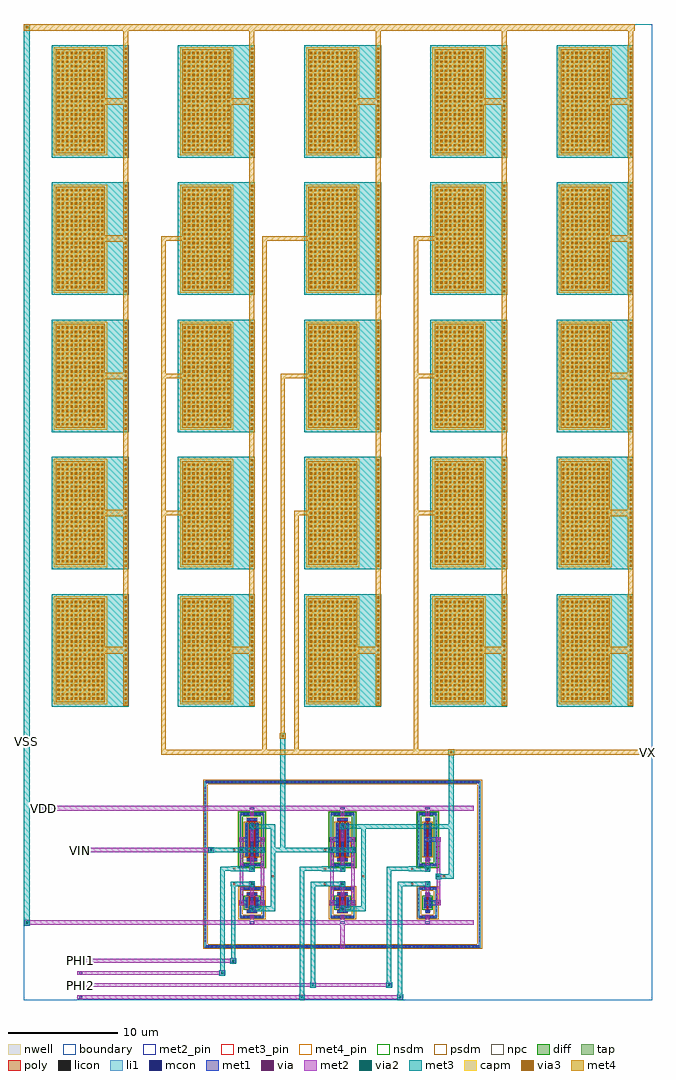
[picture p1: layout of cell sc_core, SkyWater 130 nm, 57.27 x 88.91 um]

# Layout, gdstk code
import gdstk
lib = gdstk.Library(unit=1e-6, precision=1e-09)
def R(c, l, rs):  # rectangles x0, y0, x1, y1
    for r in rs: c.add(gdstk.rectangle(r[:2], r[2:], *l))
def A(c, l, x, y, w, h, nx, ny, dx, dy):  # array of equal rectangles
    R(c, l, [(x+i*dx, y+j*dy, x+i*dx+w, y+j*dy+h) for i in range(nx) for j in range(ny)])
nwell = (64, 20)
diff = (65, 20)
tap = (65, 44)
poly = (66, 20)
licon = (66, 44)
li1 = (67, 20)
mcon = (67, 44)
met1 = (68, 20)
via = (68, 44)
met2_pin = (69, 16)
met2 = (69, 20)
via2 = (69, 44)
met3_pin = (70, 16)
met3 = (70, 20)
via3 = (70, 44)
met4_pin = (71, 16)
met4 = (71, 20)
capm = (89, 44)
nsdm = (93, 44)
psdm = (94, 20)
npc = (95, 20)
boundary = (235, 4)

dev_p_tg = lib.new_cell('dev_p_tg')
R(dev_p_tg, nwell, [(-1.315,-2.595,1.315,2.595)])
R(dev_p_tg, diff, [(-0.625,-1.5,0.625,1.5)])
R(dev_p_tg, tap, [(-1.135,-2.415,1.135,-2.245), (-1.135,-2.245,-0.965,2.245), (0.965,-2.245,1.135,2.245), (-1.135,2.245,1.135,2.415)])
R(dev_p_tg, poly, [(-0.48,-1.985,0.48,-1.655), (-0.315,-1.655,-0.165,1.655), (0.165,-1.655,0.315,1.655), (-0.48,1.655,0.48,1.985)])
A(dev_p_tg, licon, -0.595, -2.415, 0.17, 0.17, 4, 2, 0.34, 4.66)
A(dev_p_tg, licon, -1.135, -1.785, 0.17, 0.17, 1, 11, 0, 0.34)
A(dev_p_tg, licon, 0.965, -1.785, 0.17, 0.17, 1, 11, 0, 0.34)
A(dev_p_tg, licon, -0.565, -1.275, 0.17, 0.17, 3, 8, 0.48, 0.34)
R(dev_p_tg, licon, [(-0.325,-1.905,-0.155,-1.735), (0.155,-1.905,0.325,-1.735), (-0.325,1.735,-0.155,1.905), (0.155,1.735,0.325,1.905)])
A(dev_p_tg, li1, -0.565, -1.52, 0.17, 3.04, 3, 1, 0.48, 0)
R(dev_p_tg, li1, [(-1.135,-2.415,1.135,-2.245), (-1.135,-2.245,-0.965,2.245), (0.965,-2.245,1.135,2.245), (-0.48,-1.905,0.48,-1.735), (-0.48,1.735,0.48,1.905), (-1.135,2.245,1.135,2.415)])
A(dev_p_tg, mcon, -0.805, -2.415, 0.17, 0.17, 5, 2, 0.36, 4.66)
A(dev_p_tg, mcon, -0.565, -1.345, 0.17, 0.17, 3, 8, 0.48, 0.36)
R(dev_p_tg, mcon, [(-0.325,-1.905,-0.155,-1.735), (0.155,-1.905,0.325,-1.735), (-0.325,1.735,-0.155,1.905), (0.155,1.735,0.325,1.905)])
A(dev_p_tg, met1, -0.595, -1.5, 0.23, 3, 3, 1, 0.48, 0)
R(dev_p_tg, met1, [(-1.025,-2.445,1.025,-2.215), (-0.385,-1.935,-0.095,-1.905), (0.095,-1.935,0.385,-1.905), (-0.48,-1.905,0.48,-1.735), (-0.385,-1.735,-0.095,-1.705), (0.095,-1.735,0.385,-1.705), (-0.385,1.705,-0.095,1.735), (0.095,1.705,0.385,1.735), (-0.48,1.735,0.48,1.905), (-0.385,1.905,-0.095,1.935), (0.095,1.905,0.385,1.935), (-1.025,2.215,1.025,2.445)])
R(dev_p_tg, nsdm, [(-1.26,-2.54,1.26,-2.12), (-1.26,-2.12,-0.84,2.12), (0.84,-2.12,1.26,2.12), (-1.26,2.12,1.26,2.54)])
R(dev_p_tg, psdm, [(-0.75,-1.625,0.75,1.625)])
R(dev_p_tg, npc, [(-0.425,-2.005,0.425,-1.635), (-0.425,1.635,0.425,2.005)])
R(dev_p_tg, boundary, [(-1.05,-2.33,1.05,2.33)])

dev_n_tg = lib.new_cell('dev_n_tg')
R(dev_n_tg, diff, [(-0.625,-0.5,0.625,0.5)])
R(dev_n_tg, tap, [(-1.135,-1.37,1.135,-1.2), (-1.135,-1.2,-0.965,1.2), (0.965,-1.2,1.135,1.2), (-1.135,1.2,1.135,1.37)])
R(dev_n_tg, poly, [(-0.48,-0.94,0.48,-0.61), (-0.315,-0.61,-0.165,0.61), (0.165,-0.61,0.315,0.61), (-0.48,0.61,0.48,0.94)])
A(dev_n_tg, licon, -0.595, -1.37, 0.17, 0.17, 4, 2, 0.34, 2.57)
A(dev_n_tg, licon, -1.135, -0.765, 0.17, 0.17, 1, 5, 0, 0.34)
A(dev_n_tg, licon, 0.965, -0.765, 0.17, 0.17, 1, 5, 0, 0.34)
A(dev_n_tg, licon, -0.565, -0.425, 0.17, 0.17, 3, 3, 0.48, 0.34)
R(dev_n_tg, licon, [(-0.325,-0.86,-0.155,-0.69), (0.155,-0.86,0.325,-0.69), (-0.325,0.69,-0.155,0.86), (0.155,0.69,0.325,0.86)])
A(dev_n_tg, li1, -0.565, -0.52, 0.17, 1.04, 3, 1, 0.48, 0)
R(dev_n_tg, li1, [(-1.135,-1.37,1.135,-1.2), (-1.135,-1.2,-0.965,1.2), (0.965,-1.2,1.135,1.2), (-0.48,-0.86,0.48,-0.69), (-0.48,0.69,0.48,0.86), (-1.135,1.2,1.135,1.37)])
A(dev_n_tg, mcon, -0.805, -1.37, 0.17, 0.17, 5, 2, 0.36, 2.57)
A(dev_n_tg, mcon, -0.565, -0.265, 0.17, 0.17, 3, 2, 0.48, 0.36)
R(dev_n_tg, mcon, [(-0.325,-0.86,-0.155,-0.69), (0.155,-0.86,0.325,-0.69), (-0.325,0.69,-0.155,0.86), (0.155,0.69,0.325,0.86)])
A(dev_n_tg, met1, -0.595, -0.5, 0.23, 1, 3, 1, 0.48, 0)
R(dev_n_tg, met1, [(-1.025,-1.4,1.025,-1.17), (-0.385,-0.89,-0.095,-0.86), (0.095,-0.89,0.385,-0.86), (-0.48,-0.86,0.48,-0.69), (-0.385,-0.69,-0.095,-0.66), (0.095,-0.69,0.385,-0.66), (-0.385,0.66,-0.095,0.69), (0.095,0.66,0.385,0.69), (-0.48,0.69,0.48,0.86), (-0.385,0.86,-0.095,0.89), (0.095,0.86,0.385,0.89), (-1.025,1.17,1.025,1.4)])
R(dev_n_tg, nsdm, [(-0.75,-0.625,0.75,0.625)])
R(dev_n_tg, psdm, [(-1.26,-1.495,1.26,-1.075), (-1.26,-1.075,-0.84,1.075), (0.84,-1.075,1.26,1.075), (-1.26,1.075,1.26,1.495)])
R(dev_n_tg, npc, [(-0.425,-0.96,0.425,-0.59), (-0.425,0.59,0.425,0.96)])
R(dev_n_tg, boundary, [(-1.05,-1.285,1.05,1.285)])

tg_switch = lib.new_cell('tg_switch')
R(tg_switch, met1, [(-0.2,-1.415,0.2,-1.155), (-0.13,-0.26,0.13,0.16), (-1.16,-0.21,-0.365,0.21), (0.365,-0.21,1.16,0.21), (-0.2,0.645,0.2,0.905), (-0.2,3.8,0.2,4.06), (-1.16,5.54,-0.365,5.96), (0.365,5.54,1.16,5.96), (-0.13,5.59,0.13,6.01), (-0.2,7.95,0.2,8.21)])
R(tg_switch, via, [(-0.075,-1.36,0.075,-1.21), (-0.075,-0.125,0.075,0.025), (-1.025,-0.075,-0.875,0.075), (0.875,-0.075,1.025,0.075), (-0.075,0.7,0.075,0.85), (-0.075,3.855,0.075,4.005), (-1.025,5.675,-0.875,5.825), (0.875,5.675,1.025,5.825), (-0.075,5.725,0.075,5.875), (-0.075,8.005,0.075,8.155)])
R(tg_switch, met2_pin, [(-0.2,-1.9,0.2,-1.7), (-0.2,8.5,0.2,8.7)])
R(tg_switch, met2, [(-1.61,-2.01,1.61,-1.59), (-0.17,-1.59,0.17,-1.075), (-0.23,-0.78,0.23,-0.32), (-0.17,-0.32,0.17,0.16), (-1.16,-0.21,-0.74,0.21), (0.74,-0.21,1.16,0.21), (-1.12,0.21,-0.78,4.57), (0.78,0.21,1.12,4.57), (-0.17,0.565,0.17,1.47), (-0.23,1.47,0.23,1.93), (-0.23,2.87,0.23,3.33), (-0.17,3.33,0.17,4.14), (-1.18,4.57,-0.72,5.03), (0.72,4.57,1.18,5.03), (-1.12,5.03,-0.78,5.54), (0.78,5.03,1.12,5.54), (-1.16,5.54,-0.74,5.96), (0.74,5.54,1.16,5.96), (-0.17,5.59,0.17,6.72), (-0.23,6.72,0.23,7.18), (-0.17,7.87,0.17,8.39), (-1.61,8.39,1.61,8.81)])
R(tg_switch, via2, [(-0.1,-0.65,0.1,-0.45), (-0.1,1.6,0.1,1.8), (-0.1,3,0.1,3.2), (-1.05,4.7,-0.85,4.9), (0.85,4.7,1.05,4.9), (-0.1,6.85,0.1,7.05)])
R(tg_switch, met3_pin, [(-1.7,1.6,-1.5,1.8), (1.8,2.3,2,2.5), (-1.7,3,-1.5,3.2), (-1.7,4.7,-1.5,4.9)])
R(tg_switch, met3, [(-0.26,-0.81,0.26,-0.76), (-0.26,-0.76,2.11,-0.34), (-0.26,-0.34,0.26,-0.29), (1.69,-0.34,2.11,6.74), (-0.26,1.44,0.26,1.49), (-1.91,1.49,0.26,1.91), (-0.26,1.91,0.26,1.96), (-0.26,2.84,0.26,2.89), (-1.91,2.89,0.26,3.31), (-0.26,3.31,0.26,3.36), (-1.21,4.54,-0.69,4.59), (0.69,4.54,1.21,4.59), (-1.91,4.59,1.21,5.01), (-1.21,5.01,-0.69,5.06), (0.69,5.01,1.21,5.06), (-0.26,6.69,0.26,6.74), (-0.26,6.74,2.11,7.16), (-0.26,7.16,0.26,7.21)])
R(tg_switch, boundary, [(-1.91,-2.01,2.11,8.81)])
tg_switch.add(gdstk.Reference(dev_p_tg, (0,5.75)))
tg_switch.add(gdstk.Reference(dev_n_tg, (0,0)))
tg_switch.add(gdstk.Label('VIN', (-1.6,4.8), layer=70, texttype=5))
tg_switch.add(gdstk.Label('VOUT', (1.9,2.4), layer=70, texttype=5))
tg_switch.add(gdstk.Label('PHI', (-1.6,1.7), layer=70, texttype=5))
tg_switch.add(gdstk.Label('PHI_B', (-1.6,3.1), layer=70, texttype=5))
tg_switch.add(gdstk.Label('VDD', (0,8.6), layer=69, texttype=5))
tg_switch.add(gdstk.Label('VSS', (0,-1.8), layer=69, texttype=5))

gr_sc_sw = lib.new_cell('gr_sc_sw')
R(gr_sc_sw, tap, [(-12.585,-7.585,12.585,-7.415), (-12.585,-7.415,-12.415,7.415), (12.415,-7.415,12.585,7.415), (-12.585,7.415,12.585,7.585)])
A(gr_sc_sw, licon, -11.985, -7.585, 0.17, 0.17, 71, 2, 0.34, 15)
A(gr_sc_sw, licon, -12.585, -7.055, 0.17, 0.17, 1, 42, 0, 0.34)
A(gr_sc_sw, licon, 12.415, -7.055, 0.17, 0.17, 1, 42, 0, 0.34)
R(gr_sc_sw, li1, [(-12.585,-7.585,12.585,-7.415), (-12.585,-7.415,-12.415,7.415), (12.415,-7.415,12.585,7.415), (-12.585,7.415,12.585,7.585)])
A(gr_sc_sw, mcon, -12.325, -7.585, 0.17, 0.17, 69, 2, 0.36, 15)
R(gr_sc_sw, met1, [(-12.475,-7.615,12.475,-7.385), (-12.475,7.385,12.475,7.615)])
R(gr_sc_sw, psdm, [(-12.71,-7.71,12.71,-7.29), (-12.71,-7.29,-12.29,7.29), (12.29,-7.29,12.71,7.29), (-12.71,7.29,12.71,7.71)])
R(gr_sc_sw, boundary, [(-12.5,-7.5,12.5,7.5)])

dev_p_dum = lib.new_cell('dev_p_dum')
R(dev_p_dum, nwell, [(-1.055,-2.595,1.055,2.595)])
R(dev_p_dum, diff, [(-0.365,-1.5,0.365,1.5)])
R(dev_p_dum, tap, [(-0.875,-2.415,0.875,-2.245), (-0.875,-2.245,-0.705,2.245), (0.705,-2.245,0.875,2.245), (-0.875,2.245,0.875,2.415)])
R(dev_p_dum, poly, [(-0.165,-1.985,0.165,-1.655), (-0.075,-1.655,0.075,1.655), (-0.165,1.655,0.165,1.985)])
A(dev_p_dum, licon, -0.875, -1.785, 0.17, 0.17, 1, 11, 0, 0.34)
A(dev_p_dum, licon, 0.705, -1.785, 0.17, 0.17, 1, 11, 0, 0.34)
A(dev_p_dum, licon, -0.305, -1.275, 0.17, 0.17, 1, 8, 0, 0.34)
A(dev_p_dum, licon, 0.135, -1.275, 0.17, 0.17, 1, 8, 0, 0.34)
R(dev_p_dum, licon, [(-0.255,-2.415,-0.085,-2.245), (0.085,-2.415,0.255,-2.245), (-0.085,-1.905,0.085,-1.735), (-0.085,1.735,0.085,1.905), (-0.255,2.245,-0.085,2.415), (0.085,2.245,0.255,2.415)])
R(dev_p_dum, li1, [(-0.875,-2.415,0.875,-2.245), (-0.875,-2.245,-0.705,2.245), (0.705,-2.245,0.875,2.245), (-0.22,-1.905,0.22,-1.735), (-0.305,-1.52,-0.135,1.52), (0.135,-1.52,0.305,1.52), (-0.22,1.735,0.22,1.905), (-0.875,2.245,0.875,2.415)])
A(dev_p_dum, mcon, -0.625, -2.415, 0.17, 0.17, 4, 2, 0.36, 4.66)
A(dev_p_dum, mcon, -0.305, -1.345, 0.17, 0.17, 1, 8, 0, 0.36)
A(dev_p_dum, mcon, 0.135, -1.345, 0.17, 0.17, 1, 8, 0, 0.36)
R(dev_p_dum, mcon, [(-0.085,-1.905,0.085,-1.735), (-0.085,1.735,0.085,1.905)])
R(dev_p_dum, met1, [(-0.765,-2.445,0.765,-2.215), (-0.145,-1.935,0.145,-1.905), (-0.22,-1.905,0.22,-1.735), (-0.145,-1.735,0.145,-1.705), (-0.335,-1.5,-0.105,1.5), (0.105,-1.5,0.335,1.5), (-0.145,1.705,0.145,1.735), (-0.22,1.735,0.22,1.905), (-0.145,1.905,0.145,1.935), (-0.765,2.215,0.765,2.445)])
R(dev_p_dum, nsdm, [(-1,-2.54,1,-2.12), (-1,-2.12,-0.58,2.12), (0.58,-2.12,1,2.12), (-1,2.12,1,2.54)])
R(dev_p_dum, psdm, [(-0.49,-1.625,0.49,1.625)])
R(dev_p_dum, npc, [(-0.185,-2.005,0.185,-1.635), (-0.185,1.635,0.185,2.005)])
R(dev_p_dum, boundary, [(-0.79,-2.33,0.79,2.33)])

dev_n_dum = lib.new_cell('dev_n_dum')
R(dev_n_dum, diff, [(-0.365,-0.5,0.365,0.5)])
R(dev_n_dum, tap, [(-0.875,-1.37,0.875,-1.2), (-0.875,-1.2,-0.705,1.2), (0.705,-1.2,0.875,1.2), (-0.875,1.2,0.875,1.37)])
R(dev_n_dum, poly, [(-0.165,-0.94,0.165,-0.61), (-0.075,-0.61,0.075,0.61), (-0.165,0.61,0.165,0.94)])
A(dev_n_dum, licon, -0.875, -0.765, 0.17, 0.17, 1, 5, 0, 0.34)
A(dev_n_dum, licon, 0.705, -0.765, 0.17, 0.17, 1, 5, 0, 0.34)
A(dev_n_dum, licon, -0.305, -0.425, 0.17, 0.17, 1, 3, 0, 0.34)
A(dev_n_dum, licon, 0.135, -0.425, 0.17, 0.17, 1, 3, 0, 0.34)
R(dev_n_dum, licon, [(-0.255,-1.37,-0.085,-1.2), (0.085,-1.37,0.255,-1.2), (-0.085,-0.86,0.085,-0.69), (-0.085,0.69,0.085,0.86), (-0.255,1.2,-0.085,1.37), (0.085,1.2,0.255,1.37)])
R(dev_n_dum, li1, [(-0.875,-1.37,0.875,-1.2), (-0.875,-1.2,-0.705,1.2), (0.705,-1.2,0.875,1.2), (-0.22,-0.86,0.22,-0.69), (-0.305,-0.52,-0.135,0.52), (0.135,-0.52,0.305,0.52), (-0.22,0.69,0.22,0.86), (-0.875,1.2,0.875,1.37)])
A(dev_n_dum, mcon, -0.625, -1.37, 0.17, 0.17, 4, 2, 0.36, 2.57)
R(dev_n_dum, mcon, [(-0.085,-0.86,0.085,-0.69), (-0.305,-0.265,-0.135,-0.095), (0.135,-0.265,0.305,-0.095), (-0.305,0.095,-0.135,0.265), (0.135,0.095,0.305,0.265), (-0.085,0.69,0.085,0.86)])
R(dev_n_dum, met1, [(-0.765,-1.4,0.765,-1.17), (-0.145,-0.89,0.145,-0.86), (-0.22,-0.86,0.22,-0.69), (-0.145,-0.69,0.145,-0.66), (-0.335,-0.5,-0.105,0.5), (0.105,-0.5,0.335,0.5), (-0.145,0.66,0.145,0.69), (-0.22,0.69,0.22,0.86), (-0.145,0.86,0.145,0.89), (-0.765,1.17,0.765,1.4)])
R(dev_n_dum, nsdm, [(-0.49,-0.625,0.49,0.625)])
R(dev_n_dum, psdm, [(-1,-1.495,1,-1.075), (-1,-1.075,-0.58,1.075), (0.58,-1.075,1,1.075), (-1,1.075,1,1.495)])
R(dev_n_dum, npc, [(-0.185,-0.96,0.185,-0.59), (-0.185,0.59,0.185,0.96)])
R(dev_n_dum, boundary, [(-0.79,-1.285,0.79,1.285)])

tg_dummy = lib.new_cell('tg_dummy')
R(tg_dummy, met1, [(-0.2,-1.415,0.2,-1.155), (-0.335,-0.21,1.21,0.21), (-0.2,0.645,0.2,0.905), (-0.2,3.8,0.2,4.06), (-0.335,5.54,1.21,5.96), (-0.2,7.95,0.2,8.21)])
R(tg_dummy, via, [(-0.075,-1.36,0.075,-1.21), (0.925,-0.075,1.075,0.075), (-0.075,0.7,0.075,0.85), (-0.075,3.855,0.075,4.005), (0.925,5.675,1.075,5.825), (-0.075,8.005,0.075,8.155)])
R(tg_dummy, met2_pin, [(-0.2,-1.9,0.2,-1.7), (-0.2,8.5,0.2,8.7)])
R(tg_dummy, met2, [(-1.51,-2.01,1.51,-1.59), (-0.17,-1.59,0.17,-1.075), (0.79,-0.21,1.21,0.21), (0.83,0.21,1.17,2.17), (-0.17,0.565,0.17,1.47), (-0.23,1.47,0.23,1.93), (0.77,2.17,1.23,2.63), (0.83,2.63,1.17,5.54), (-0.23,2.87,0.23,3.33), (-0.17,3.33,0.17,4.14), (0.79,5.54,1.21,5.96), (-0.17,7.87,0.17,8.39), (-1.51,8.39,1.51,8.81)])
R(tg_dummy, via2, [(-0.1,1.6,0.1,1.8), (0.9,2.3,1.1,2.5), (-0.1,3,0.1,3.2)])
R(tg_dummy, met3_pin, [(-1.5,1.6,-1.3,1.8), (1.4,2.3,1.6,2.5), (-1.5,3,-1.3,3.2)])
R(tg_dummy, met3, [(-0.26,1.44,0.26,1.49), (-1.71,1.49,0.26,1.91), (-0.26,1.91,0.26,1.96), (0.74,2.14,1.26,2.19), (0.74,2.19,1.81,2.61), (0.74,2.61,1.26,2.66), (-0.26,2.84,0.26,2.89), (-1.71,2.89,0.26,3.31), (-0.26,3.31,0.26,3.36)])
R(tg_dummy, boundary, [(-1.71,-2.01,1.81,8.81)])
tg_dummy.add(gdstk.Reference(dev_p_dum, (0,5.75)))
tg_dummy.add(gdstk.Reference(dev_n_dum, (0,0)))
tg_dummy.add(gdstk.Label('VNODE', (1.5,2.4), layer=70, texttype=5))
tg_dummy.add(gdstk.Label('G_N', (-1.4,1.7), layer=70, texttype=5))
tg_dummy.add(gdstk.Label('G_P', (-1.4,3.1), layer=70, texttype=5))
tg_dummy.add(gdstk.Label('VDD', (0,8.6), layer=69, texttype=5))
tg_dummy.add(gdstk.Label('VSS', (0,-1.8), layer=69, texttype=5))

dev_mim_unit = lib.new_cell('dev_mim_unit')
R(dev_mim_unit, met3, [(-3.505,-5.125,3.505,5.125)])
A(dev_mim_unit, via3, 3.145, -4.9, 0.2, 0.2, 1, 25, 0, 0.4)
A(dev_mim_unit, via3, -2.98, -4.5, 0.2, 0.2, 11, 23, 0.4, 0.4)
R(dev_mim_unit, met4, [(3.005,-5.065,3.485,5.065), (-3.11,-4.73,1.35,4.73)])
R(dev_mim_unit, capm, [(-3.305,-4.925,1.545,4.925)])
R(dev_mim_unit, boundary, [(-3.505,-5.125,1.745,5.125)])

sc_core = lib.new_cell('sc_core')
R(sc_core, met1, [(-0.2,-18.63,0.2,-18.37)])
R(sc_core, via, [(-0.075,-18.575,0.075,-18.425)])
A(sc_core, met2_pin, -24, -23.2, 0.3, 0.2, 1, 4, 0, 1.1)
R(sc_core, met2_pin, [(-24,-9.8,-23.7,-9.6), (-27.4,-6,-27.1,-5.8)])
R(sc_core, met2, [(-3.93,-23.33,-3.47,-23.275), (5.02,-23.33,5.48,-23.275), (-24.175,-23.275,5.48,-22.925), (-3.93,-22.925,-3.47,-22.87), (5.02,-22.925,5.48,-22.87), (-2.93,-22.23,-2.47,-22.175), (4.02,-22.23,4.48,-22.175), (-24.175,-22.175,4.48,-21.825), (-2.93,-21.825,-2.47,-21.77), (4.02,-21.825,4.48,-21.77), (-11.18,-21.13,-10.72,-21.075), (-24.175,-21.075,-10.72,-20.725), (-11.18,-20.725,-10.72,-20.67), (-10.18,-20.03,-9.72,-19.975), (-24.175,-19.975,-9.72,-19.625), (-10.18,-19.625,-9.72,-19.57), (-0.17,-18.71,0.17,-18.7), (-0.2,-18.7,0.2,-16.525), (-28.98,-16.53,-28.52,-16.525), (-28.98,-16.525,11.975,-16.075), (-28.98,-16.075,-28.52,-16.07), (-12.18,-9.93,-11.72,-9.91), (-24.21,-9.91,-11.72,-9.49), (-12.18,-9.49,-11.72,-9.47), (-27.475,-6.125,11.975,-5.675)])
R(sc_core, via2, [(-3.8,-23.2,-3.6,-23), (5.15,-23.2,5.35,-23), (-2.8,-22.1,-2.6,-21.9), (4.15,-22.1,4.35,-21.9), (-11.05,-21,-10.85,-20.8), (-10.05,-19.9,-9.85,-19.7), (-28.85,-16.4,-28.65,-16.2), (-12.05,-9.8,-11.85,-9.6)])
R(sc_core, met3_pin, [(-28.95,0,-28.55,0.3)])
R(sc_core, met3, [(-3.96,-23.36,-3.44,-22.84), (4.99,-23.36,5.51,-22.84), (-3.9,-22.84,-3.5,-11.6), (5.05,-22.84,5.45,-13), (-2.96,-22.26,-2.44,-21.74), (3.99,-22.26,4.51,-21.74), (-2.9,-21.74,-2.5,-13), (4.05,-21.74,4.45,-11.6), (-11.21,-21.16,-10.69,-20.64), (-11.15,-20.64,-10.75,-11.6), (-10.21,-20.06,-9.69,-19.54), (-10.15,-19.54,-9.75,-12.6), (-29.025,-16.575,-28.475,65.525), (-2.9,-13,-1.5,-12.6), (5.05,-13,6.45,-12.6), (8.94,-12.31,10.11,-11.89), (9.69,-11.89,10.11,-7.775), (-11.15,-11.6,-9.75,-11.2), (-3.9,-11.6,-1.5,-11.2), (4.05,-11.6,6.45,-11.2), (-12.21,-9.96,-11.69,-9.91), (-12.21,-9.91,-9.74,-9.49), (-6.56,-9.91,-1.49,-9.49), (-12.21,-9.49,-11.69,-9.44), (-5.66,-9.49,-5.24,0.44), (9.675,-7.775,10.125,-7.76), (1.69,-7.76,10.125,-7.34), (9.675,-7.34,10.125,-1.06), (9.64,-1.06,10.16,-0.54), (-5.71,0.44,-5.19,0.96)])
R(sc_core, via3, [(9.8,-0.9,10,-0.7), (-5.55,0.6,-5.35,0.8), (-28.85,65.15,-28.65,65.35)])
R(sc_core, met4_pin, [(27.6,-0.95,28,-0.65)])
A(sc_core, met4, -19.975, 3.45, 0.45, 4.75, 5, 1, 11.5, 0)
A(sc_core, met4, -22, 8.2, 2.475, 0.6, 5, 2, 11.5, 50)
A(sc_core, met4, -19.975, 8.8, 0.45, 11.9, 1, 4, 0, 12.5)
A(sc_core, met4, -8.475, 8.8, 0.45, 49.4, 3, 1, 11.5, 0)
A(sc_core, met4, 26.025, 8.8, 0.45, 11.9, 1, 4, 0, 12.5)
A(sc_core, met4, -22, 20.7, 2.475, 0.6, 1, 3, 0, 12.5)
A(sc_core, met4, 24, 20.7, 2.475, 0.6, 1, 3, 0, 12.5)
A(sc_core, met4, -16.5, 20.8, 2.1, 0.4, 1, 3, 0, 12.5)
A(sc_core, met4, 6.5, 20.8, 2.1, 0.4, 1, 3, 0, 12.5)
A(sc_core, met4, -19.975, 58.8, 0.45, 6.15, 5, 1, 11.5, 0)
R(sc_core, met4, [(9.64,-1.06,10.16,-1.025), (-16.525,-1.025,28.225,-0.575), (-16.5,-0.575,-16.1,20.8), (-7.3,-0.575,-6.9,45.8), (-4.4,-0.575,-4,20.8), (6.5,-0.575,6.9,20.8), (9.64,-0.575,10.16,-0.54), (-5.71,0.44,-5.19,0.96), (-5.63,0.96,-5.27,33.3), (-4.4,20.8,-2.9,21.2), (-16.5,21.2,-16.1,33.3), (6.5,21.2,6.9,33.3), (-5.65,33.3,-2.9,33.7), (-16.5,33.7,-16.1,45.8), (6.5,33.7,6.9,45.8), (-7.3,45.8,-2.9,46.2), (-29.05,64.95,26.6,65.55)])
R(sc_core, boundary, [(-29.05,-23.36,28.225,65.55)])
sc_core.add(gdstk.Reference(tg_switch, (-8.25,-14.5)))
sc_core.add(gdstk.Reference(tg_switch, (0,-14.5)))
sc_core.add(gdstk.Reference(gr_sc_sw, (0,-11)))
sc_core.add(gdstk.Reference(tg_dummy, (7.75,-14.5)))
sc_core.add(gdstk.Reference(dev_mim_unit, (-23,8.5)))
sc_core.add(gdstk.Reference(dev_mim_unit, (-11.5,8.5)))
sc_core.add(gdstk.Reference(dev_mim_unit, (0,8.5)))
sc_core.add(gdstk.Reference(dev_mim_unit, (11.5,8.5)))
sc_core.add(gdstk.Reference(dev_mim_unit, (23,8.5)))
sc_core.add(gdstk.Reference(dev_mim_unit, (-23,21)))
sc_core.add(gdstk.Reference(dev_mim_unit, (-11.5,21)))
sc_core.add(gdstk.Reference(dev_mim_unit, (0,21)))
sc_core.add(gdstk.Reference(dev_mim_unit, (11.5,21)))
sc_core.add(gdstk.Reference(dev_mim_unit, (23,21)))
sc_core.add(gdstk.Reference(dev_mim_unit, (-23,33.5)))
sc_core.add(gdstk.Reference(dev_mim_unit, (-11.5,33.5)))
sc_core.add(gdstk.Reference(dev_mim_unit, (0,33.5)))
sc_core.add(gdstk.Reference(dev_mim_unit, (-23,46)))
sc_core.add(gdstk.Reference(dev_mim_unit, (-11.5,46)))
sc_core.add(gdstk.Reference(dev_mim_unit, (0,46)))
sc_core.add(gdstk.Reference(dev_mim_unit, (11.5,33.5)))
sc_core.add(gdstk.Reference(dev_mim_unit, (23,33.5)))
sc_core.add(gdstk.Reference(dev_mim_unit, (11.5,46)))
sc_core.add(gdstk.Reference(dev_mim_unit, (23,46)))
sc_core.add(gdstk.Reference(dev_mim_unit, (-23,58.5)))
sc_core.add(gdstk.Reference(dev_mim_unit, (-11.5,58.5)))
sc_core.add(gdstk.Reference(dev_mim_unit, (0,58.5)))
sc_core.add(gdstk.Reference(dev_mim_unit, (11.5,58.5)))
sc_core.add(gdstk.Reference(dev_mim_unit, (23,58.5)))
sc_core.add(gdstk.Label('VIN', (-23.85,-9.7), layer=69, texttype=5))
sc_core.add(gdstk.Label('VX', (27.8,-0.8), layer=71, texttype=5))
sc_core.add(gdstk.Label('PHI1', (-23.85,-19.8), layer=69, texttype=5))
sc_core.add(gdstk.Label('PHI1_B', (-23.85,-20.9), layer=69, texttype=5))
sc_core.add(gdstk.Label('PHI2', (-23.85,-22), layer=69, texttype=5))
sc_core.add(gdstk.Label('PHI2_B', (-23.85,-23.1), layer=69, texttype=5))
sc_core.add(gdstk.Label('VDD', (-27.25,-5.9), layer=69, texttype=5))
sc_core.add(gdstk.Label('VSS', (-28.75,0.15), layer=70, texttype=5))

lib.write_gds('sc_core.gds')
